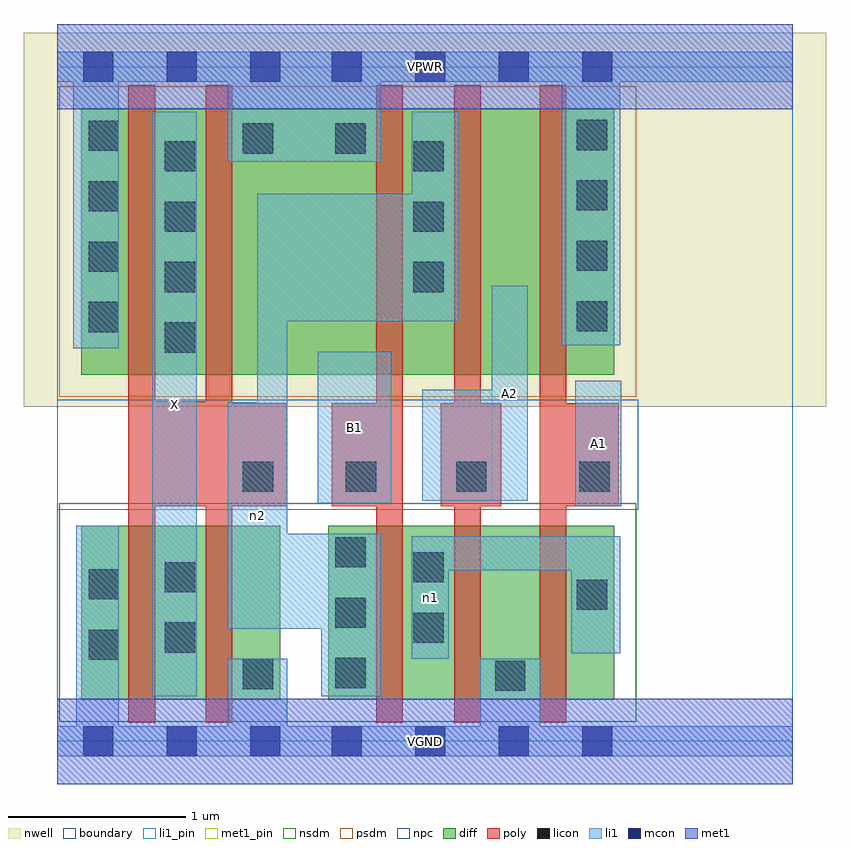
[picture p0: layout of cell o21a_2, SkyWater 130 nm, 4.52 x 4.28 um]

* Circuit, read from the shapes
.subckt o21a_2 A1 A2 B1 VGND VPWR X n1 n2
XM1 X n2 VGND VSUBS sky130_fd_pr__nfet_01v8 w=0.98 l=0.15 m=2
XM2 n1 B1 n2 VSUBS sky130_fd_pr__nfet_01v8 w=0.98 l=0.15
XM3 VGND A2 n1 VSUBS sky130_fd_pr__nfet_01v8 w=0.98 l=0.15
XM4 n1 A1 VGND VSUBS sky130_fd_pr__nfet_01v8 w=0.98 l=0.15
XM5 X n2 VPWR n3 sky130_fd_pr__pfet_01v8 w=1.5 l=0.15 m=2
XM6 n2 B1 VPWR n3 sky130_fd_pr__pfet_01v8 w=1.5 l=0.15
XM7 n4 A2 n2 n3 sky130_fd_pr__pfet_01v8 w=1.5 l=0.15
XM8 VPWR A1 n4 n3 sky130_fd_pr__pfet_01v8 w=1.5 l=0.15
.ends

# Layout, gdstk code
import gdstk
lib = gdstk.Library(unit=1e-6, precision=1e-09)
def R(c, l, rs):  # rectangles x0, y0, x1, y1
    for r in rs: c.add(gdstk.rectangle(r[:2], r[2:], *l))
def A(c, l, x, y, w, h, nx, ny, dx, dy):  # array of equal rectangles
    R(c, l, [(x+i*dx, y+j*dy, x+i*dx+w, y+j*dy+h) for i in range(nx) for j in range(ny)])
nwell = (64, 20)
diff = (65, 20)
poly = (66, 20)
licon = (66, 44)
li1_pin = (67, 16)
li1 = (67, 20)
mcon = (67, 44)
met1_pin = (68, 16)
met1 = (68, 20)
nsdm = (93, 44)
psdm = (94, 20)
npc = (95, 20)
boundary = (235, 4)

o21a_2 = lib.new_cell('o21a_2')
R(o21a_2, nwell, [(-0.19,1.885,4.33,3.99), (0,1.885,4.14,3.99)])
R(o21a_2, diff, [(0.135,0.235,1.255,1.215), (1.525,0.235,3.135,1.215), (0.135,2.065,3.135,3.565)])
R(o21a_2, poly, [(0.4,0.105,0.55,3.695), (0.835,0.105,0.985,3.695), (1.795,0.105,1.945,3.695), (2.235,0.105,2.385,3.695), (2.715,0.105,2.865,3.695), (0.4,1.325,1.295,1.905), (0.4,1.325,0.985,1.915), (1.545,1.325,1.945,1.905), (2.16,1.325,2.5,1.905), (2.715,1.325,3.16,1.905)])
A(o21a_2, licon, 1.565, 0.3, 0.17, 0.17, 1, 3, 0, 0.34)
A(o21a_2, licon, 0.605, 2.19, 0.17, 0.17, 1, 4, 0, 0.34)
A(o21a_2, licon, 0.175, 2.305, 0.17, 0.17, 1, 4, 0, 0.34)
A(o21a_2, licon, 2.925, 2.31, 0.17, 0.17, 1, 4, 0, 0.34)
A(o21a_2, licon, 2.005, 2.53, 0.17, 0.17, 1, 3, 0, 0.34)
R(o21a_2, licon, [(2.465,0.285,2.635,0.455), (1.045,0.295,1.215,0.465), (0.175,0.46,0.345,0.63), (0.605,0.5,0.775,0.67), (2.005,0.555,2.175,0.725), (2.925,0.74,3.095,0.91), (0.175,0.8,0.345,0.97), (0.605,0.84,0.775,1.01), (2.005,0.895,2.175,1.065), (1.045,1.405,1.215,1.575), (1.625,1.405,1.795,1.575), (2.245,1.405,2.415,1.575), (2.94,1.405,3.11,1.575), (1.045,3.31,1.215,3.48), (1.565,3.31,1.735,3.48)])
R(o21a_2, li1_pin, [(0.535,0.255,0.785,3.545), (2.915,1.325,3.175,2.03), (1.465,1.34,1.88,2.195), (2.445,1.355,2.65,2.565)])
R(o21a_2, li1, [(0,-0.085,4.14,0.085), (0.105,-0.085,0.345,1.215), (0.96,-0.085,1.295,0.465), (2.38,-0.085,2.72,0.465), (0.535,0.255,0.785,3.545), (1.485,0.255,1.82,1.17), (1.995,0.465,2.205,1.155), (2.895,0.495,3.17,1.155), (0.96,0.635,1.295,1.91), (0.96,0.635,1.82,1.17), (1.125,0.635,1.295,3.085), (1.995,0.965,3.17,1.155), (2.915,1.325,3.175,2.03), (1.465,1.34,1.88,2.195), (2.055,1.355,2.65,1.98), (2.445,1.355,2.65,2.565), (0.09,2.215,0.345,3.885), (2.84,2.23,3.17,3.885), (1.125,2.365,2.26,3.085), (1.995,2.365,2.26,3.545), (0.96,3.265,1.82,3.885), (0,3.715,4.14,3.885)])
A(o21a_2, mcon, 0.145, -0.085, 0.17, 0.17, 3, 2, 0.47, 3.8)
A(o21a_2, mcon, 1.545, -0.085, 0.17, 0.17, 4, 2, 0.47, 3.8)
R(o21a_2, met1_pin, [(0,-0.24,4.14,0.24), (0,3.56,4.14,4.04)])
R(o21a_2, met1, [(0,-0.24,4.14,0.24), (0,3.56,4.14,4.04)])
R(o21a_2, nsdm, [(0.01,0.11,3.26,1.34)])
R(o21a_2, psdm, [(0.01,1.94,3.26,3.69)])
R(o21a_2, npc, [(0,1.305,3.27,1.925)])
R(o21a_2, boundary, [(0,0,4.14,3.8)])
o21a_2.add(gdstk.Label('A1', (3.045,1.677), layer=67, texttype=5))
o21a_2.add(gdstk.Label('A2', (2.547,1.96), layer=67, texttype=5))
o21a_2.add(gdstk.Label('B1', (1.672,1.767), layer=67, texttype=5))
o21a_2.add(gdstk.Label('X', (0.66,1.9), layer=67, texttype=5))
o21a_2.add(gdstk.Label('n1', (2.1,0.81), layer=67, texttype=5))
o21a_2.add(gdstk.Label('n2', (1.127,1.272), layer=67, texttype=5))
o21a_2.add(gdstk.Label('VPWR', (2.07,3.8), layer=68, texttype=5))
o21a_2.add(gdstk.Label('VGND', (2.07,0), layer=68, texttype=5))
o21a_2.add(gdstk.Label('A1', (3.045,1.677), layer=67, texttype=16))
o21a_2.add(gdstk.Label('A2', (2.547,1.96), layer=67, texttype=16))
o21a_2.add(gdstk.Label('B1', (1.672,1.767), layer=67, texttype=16))
o21a_2.add(gdstk.Label('X', (0.66,1.9), layer=67, texttype=16))
o21a_2.add(gdstk.Label('VPWR', (2.07,3.8), layer=68, texttype=16))
o21a_2.add(gdstk.Label('VGND', (2.07,0), layer=68, texttype=16))

lib.write_gds('o21a_2.gds')
